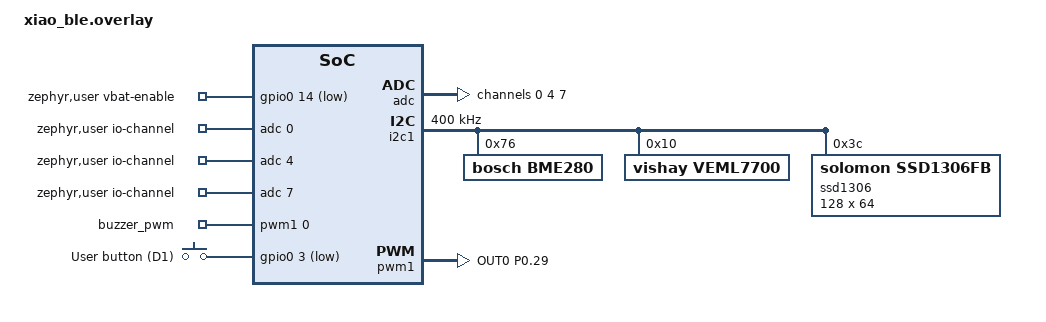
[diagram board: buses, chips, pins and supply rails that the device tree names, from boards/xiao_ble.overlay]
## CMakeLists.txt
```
cmake_minimum_required(VERSION 3.20.0)

find_package(Zephyr REQUIRED HINTS $ENV{ZEPHYR_BASE})

project(carl_node_sensor LANGUAGES C CXX)

target_sources(app PRIVATE
    src/main.cpp
    src/sensors.cpp
    src/thresholds.cpp
    src/calibration.cpp
    src/dev_cal.cpp
    src/keystore.cpp
    src/bthome_emit.cpp
    # Shared library — compiled into the app build (no separate Zephyr module
    # because the file count is tiny).
    ../common/bthome/bthome.cpp
    ../common/bthome/bthome_decode.cpp
    ../common/bthome/aes_ccm.cpp
)

# Display profile pulls in the OLED + button code paths.
target_sources_ifdef(CONFIG_CARL_DISPLAY_PROFILE app PRIVATE
    src/ui/oled.cpp
    src/ui/button.cpp
)

# Local feedback — independent of the display so the screenless budget node
# gets a buzzer + RGB status LED too.
target_sources_ifdef(CONFIG_CARL_HAS_BUZZER app PRIVATE
    src/ui/buzzer.cpp
)
target_sources_ifdef(CONFIG_CARL_HAS_RGB app PRIVATE
    src/ui/rgb.cpp
)

# QR rendering on the OLED — relies on Nayuki's qrcodegen-c vendored at
# firmware/common/qr/. See firmware/common/qr/README.md for the curl
# commands; build-side this is opt-in via CONFIG_CARL_HAS_QR=y.
target_sources_ifdef(CONFIG_CARL_HAS_QR app PRIVATE
    ../common/qr/qrcodegen.c
)

target_include_directories(app PRIVATE
    src
    ../common
    ../common/bthome
    ../common/qr
)
```

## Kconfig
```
source "Kconfig.zephyr"

menu "Project-Carl sensor node"

choice CARL_PROFILE
    prompt "Sensor node product profile"
    default CARL_DISPLAY_PROFILE

config CARL_DISPLAY_PROFILE
    bool "Display profile (XIAO Expansion Board: OLED, button, buzzer)"
    help
        Builds the premium variant with local UI. Standalone-usable when no
        hub is reachable.

config CARL_CHEAP_PROFILE
    bool "Cheap profile (bare board / future PCB)"
    help
        Mass-production target. Drops local UI; calibration via a one-minute
        connectable BLE window on first boot.

endchoice

config CARL_HAS_BUZZER
    bool "Piezo buzzer for local alerts (PWM on A3)"
    default y
    help
        Compile the buzzer path. Independent of the display profile so the
        budget/cheap node (no screen) can still beep on critically dry soil.
        Drives the carl-buzzer PWM alias (A3 / P0.29 in the board overlay) —
        the XIAO Expansion Board buzzer, or an external piezo on the bare
        board. Set n if no buzzer is wired.

config CARL_HAS_RGB
    bool "RGB status LED (XIAO onboard, GPIO)"
    default y
    help
        Compile the RGB status path. Uses the XIAO nRF52840's onboard RGB LED
        (led0/led1/led2 = red/green/blue, active-low GPIO). Shows severity at
        a glance — green OK, amber warning, red critical — so the screenless
        budget node still gives local feedback. Always present on the bare
        board, so default y.

config CARL_SAMPLE_INTERVAL_NORMAL_SEC
    int "Sample interval — normal (Severity::Ok) conditions (s)"
    default 1800
    range 30 7200
    help
        How often to sample + broadcast when soil is healthy / no alerts.
        Default: 30 minutes — favours battery life. Plant data changes on
        minute-to-hour timescales so this is plenty fresh.

config CARL_SAMPLE_INTERVAL_WARNING_SEC
    int "Sample interval — warning conditions (s)"
    default 300
    range 30 1800
    help
        How often to sample when soil is approaching dry (Severity::Warning).
        Default: 5 minutes — catches the transition to critical sooner so
        the alert fires promptly.

config CARL_SAMPLE_INTERVAL_CRITICAL_SEC
    int "Sample interval — critical conditions (s)"
    default 60
    range 30 600
    help
        How often to sample when soil is critically dry. Default: 1 minute —
        keeps the dashboard / app responsive while the user reacts. Power
        cost is small because critical conditions don't last long (user
        waters the plant and severity drops back to Warning then OK).

config CARL_SOIL_FACTORY_CAL
    bool "Apply a built-in factory soil calibration when none is stored"
    default y
    help
        The button-driven dry/wet calibration (display profile) can't run on
        the buttonless cheap/budget node. With this on, sensors::init() seeds
        the dry/wet endpoints from CARL_SOIL_FACTORY_DRY_ADC / _WET_ADC when
        NVS has no stored calibration, so every node reports a usable soil %
        out of the box and can drive its buzzer / RGB LED. A stored user/dev
        calibration loads first and always overrides these factory values.

config CARL_SOIL_FACTORY_DRY_ADC
    int "Factory dry soil ADC count (probe in air)"
    default 2600
    range 1 4095
    depends on CARL_SOIL_FACTORY_CAL
    help
        Raw 12-bit ADC count for a dry (in-air) capacitive probe. Placeholder
        default — bench-measure one probe via the dev-cal CAL SHOW command and
        set the batch's real value here. Higher count = drier.

config CARL_SOIL_FACTORY_WET_ADC
    int "Factory wet soil ADC count (probe submerged)"
    default 1300
    range 1 4095
    depends on CARL_SOIL_FACTORY_CAL
    help
        Raw 12-bit ADC count for a fully wet (submerged) capacitive probe.
        Placeholder default — measure and set the real value. Must differ
        from the dry value.

config CARL_DEEP_SLEEP
    bool "Deep-sleep power path (tear down BLE between samples)"
    default n
    help
        System ON idle deep sleep for long battery life. Between samples the
        BLE controller is disabled (bt_disable) so the radio draws nothing,
        and the RTC-driven tickless idle wakes the core at the next sample.
        This is the CORRECT periodic-wake mechanism for the nRF52840 — System
        OFF (sys_poweroff) cannot wake on a timer, only on GPIO/reset, so it is
        NOT used here. Device PM (CONFIG_PM_DEVICE, already enabled) suspends
        the sensors between reads. Intended for the cheap profile; validate the
        average current with a Power Profiler before trusting the battery
        estimate. Adds ~100 ms of active time per sample for bt_enable().

config CARL_DEV_CAL
    bool "Dev-mode soil recalibration over the serial console"
    default n
    help
        Starts a console listener that accepts CAL DRY / CAL WET / CAL SAVE /
        CAL SHOW commands to recalibrate the soil probe without the button or
        OLED. Intended for bench use and for deriving the factory ADC values
        above. Requires CONFIG_CONSOLE_GETCHAR=y (added in prj_cheap.conf).

config CARL_HAS_GROVE_TEMP
    bool "Grove Temperature Sensor v1.2 wired to D2 (AIN4)"
    default n
    help
        Enable reading a Grove Temperature Sensor v1.2 (analog NTC
        thermistor module) on AIN4 (D2 / P0.28), wired with jumper
        wires to the XIAO header on the expansion board. Off by
        default — when off, AIN4 is left floating and no fallback
        temperature reading is taken (so the OLED won't show a
        garbage temperature when nothing is connected).

config CARL_HAS_QR
    bool "Render provisioning QR code on OLED (display profile)"
    default n
    depends on CARL_DISPLAY_PROFILE
    help
        When set, the display-profile node renders the carl://node?mac=&key=…
        provisioning URL as a QR code on the OLED at first boot, and on
        long-press during normal ops. Requires Nayuki's qrcodegen-c sources
        to be vendored at firmware/common/qr/ — see firmware/common/qr/README.md
        for the one-line curl commands. Off by default so the build doesn't
        fail when those files aren't present yet.

config CARL_OLED_REFRESH_SEC
    int "OLED refresh interval while awake (s)"
    default 5
    range 1 60
    depends on CARL_DISPLAY_PROFILE
    help
        When the display is awake, how often it redraws. Display is asleep
        most of the time (see below) so this only matters during boot
        grace, button-wake, and critical-alert windows.

config CARL_DISPLAY_BOOT_GRACE_SEC
    int "Display on time after boot (s)"
    default 120
    range 0 600
    depends on CARL_DISPLAY_PROFILE
    help
        Display stays awake for this long after boot so the user can read
        the welcome screen, AES key, and provisioning QR. After the grace
        period, display sleeps to save battery. Set to 0 to disable
        (display sleeps immediately after the welcome sequence completes).

config CARL_DISPLAY_WAKE_SEC
    int "Display on time after button press (s)"
    default 30
    range 5 300
    depends on CARL_DISPLAY_PROFILE
    help
        Short-press the user button to wake the display for this many
        seconds. Useful for spot-checking readings without unplugging or
        opening the hub dashboard.

config CARL_DEBUG_MODE
    bool "Debug mode (fast sampling, raw values, display always on)"
    default n
    help
        Build the firmware for development / bench debugging instead of
        production / customer use. Overrides the adaptive sample cadence
        with a fixed 1 Hz, keeps the OLED awake permanently, swaps the
        readings page for a raw-values debug view (ADC counts, dry/wet
        calibration, severity, sample number), and silences the buzzer
        so it doesn't beep continuously while you iterate.

        Off (default) for production builds shipping to family/friends —
        gives the long battery life and quiet behaviour the customer
        path is designed for. Flip this on (-DCONFIG_CARL_DEBUG_MODE=y)
        when actively iterating on hardware so you can watch values
        change in real time.

config CARL_DEBUG_SAMPLE_INTERVAL_SEC
    int "Sample interval in debug mode (s)"
    default 1
    range 1 60
    depends on CARL_DEBUG_MODE

endmenu
```

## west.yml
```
manifest:
  self:
    path: firmware/node-sensor
  remotes:
    - name: nrf
      url-base: https://github.com/nrfconnect
  projects:
    - name: sdk-nrf
      remote: nrf
      path: nrf
      revision: v2.6.1
      import:
        path-prefix: external
      clone-depth: 1
```

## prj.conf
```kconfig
# Common config for both display and cheap profiles.
# Profile-specific overrides live in prj_display.conf / prj_cheap.conf.

# --- Bluetooth (peripheral, broadcast) ---
CONFIG_BT=y
CONFIG_BT_PERIPHERAL=y
CONFIG_BT_BROADCASTER=y
CONFIG_BT_DEVICE_NAME="carl-node"
CONFIG_BT_DEVICE_NAME_DYNAMIC=y

# --- Sensors ---
CONFIG_I2C=y
CONFIG_ADC=y
CONFIG_SENSOR=y
CONFIG_BME280=y
CONFIG_VEML7700=y

# --- Local feedback (both profiles) ---
# GPIO drives the onboard RGB status LED; PWM drives the piezo buzzer. Both
# default-on (CARL_HAS_RGB / CARL_HAS_BUZZER) so the screenless budget node
# has local status + alerts. The display profile also redeclares these.
CONFIG_GPIO=y
CONFIG_PWM=y

# --- Power management ---
CONFIG_PM=y
CONFIG_PM_DEVICE=y
CONFIG_POWEROFF=y

# --- Persistence (calibration, AES key, counter, thresholds) ---
CONFIG_NVS=y
CONFIG_FLASH=y
CONFIG_FLASH_PAGE_LAYOUT=y
CONFIG_FLASH_MAP=y
CONFIG_SETTINGS=y
CONFIG_SETTINGS_NVS=y

# --- RNG for AES key generation on first boot ---
CONFIG_ENTROPY_GENERATOR=y

# --- mbedtls (legacy API; AES-CCM used by firmware/common/bthome/aes_ccm.cpp) ---
CONFIG_MBEDTLS=y
CONFIG_MBEDTLS_BUILTIN=y
CONFIG_MBEDTLS_ENABLE_HEAP=y
CONFIG_MBEDTLS_HEAP_SIZE=4096
CONFIG_MBEDTLS_CIPHER_AES_ENABLED=y
CONFIG_MBEDTLS_CIPHER_CCM_ENABLED=y

# --- C++17 for shared firmware/common headers + the application code ---
CONFIG_CPP=y
CONFIG_STD_CPP17=y
CONFIG_CPP_MAIN=y
# Pull in the full GNU libstdc++ so <cstring>, <atomic>, <cstdint>, etc. are
# available. Without this, only the minimal libcpp ships and headers like
# <cstring> are missing.
CONFIG_LIB_CPLUSPLUS=y
CONFIG_GLIBCXX_LIBCPP=y
CONFIG_NEWLIB_LIBC=y
# Enable %f / %g support in newlib's printf family — required so snprintf
# actually renders floats. Without this the OLED shows "Soil % OK" instead
# of "Soil 45% OK" because the %f specifier silently produces nothing.
CONFIG_NEWLIB_LIBC_FLOAT_PRINTF=y

# --- Logging (off by default to save power; flip to y temporarily with
# CONFIG_BT_LOG_LEVEL_DBG=y to diagnose BT host issues during bring-up.)
CONFIG_LOG=n
CONFIG_PRINTK=y
```

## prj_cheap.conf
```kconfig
# Cheap profile overlay — bare XIAO nRF52840 / future custom PCB.
# Build with: west build -b xiao_ble -- -DEXTRA_CONF_FILE=prj_cheap.conf

CONFIG_CARL_CHEAP_PROFILE=y

# Tighter stacks; no display / UI tasks.
CONFIG_MAIN_STACK_SIZE=1536

# Dev-mode soil recalibration over the serial console (opt-in, default off in
# Kconfig). Flip CONFIG_CARL_DEV_CAL=y on the build line to enable the CAL
# DRY/WET/SAVE/SHOW commands; the console subsystem below backs console_getline().
CONFIG_CONSOLE_SUBSYS=y
CONFIG_CONSOLE_GETLINE=y
```

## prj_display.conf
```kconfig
# Display profile overlay — XIAO nRF52840 + XIAO Expansion Board.
# Build with: west build -b xiao_ble -- -DEXTRA_CONF_FILE=prj_display.conf

CONFIG_CARL_DISPLAY_PROFILE=y

# OLED on the expansion board (SSD1306, I2C).
CONFIG_DISPLAY=y
CONFIG_SSD1306=y

# Character framebuffer for simple text-only OLED rendering — no LVGL needed.
CONFIG_CHARACTER_FRAMEBUFFER=y

# GPIO for the user button + PWM for the buzzer.
CONFIG_GPIO=y
CONFIG_PWM=y

# Slightly more headroom for the UI rendering paths.
CONFIG_MAIN_STACK_SIZE=2048
CONFIG_HEAP_MEM_POOL_SIZE=4096
```

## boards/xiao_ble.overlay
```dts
/* Devicetree overlay for the XIAO nRF52840 sensor node.
 *
 * Wires the soil-moisture probe (ADC), the Grove I2C bus (BME280, VEML7700,
 * and on the display profile the SSD1306 OLED), the buzzer (PWM), and the
 * user button. The display profile pulls in the OLED + buzzer + button
 * paths in firmware (guarded by CONFIG_CARL_DISPLAY_PROFILE); the cheap
 * profile leaves those device nodes present but unused.
 *
 * Notes on choices:
 *   - The Grove I2C bus on D4/D5 is `i2c1` in the upstream board (see
 *     boards/arm/xiao_ble/xiao_ble_common.dtsi). `i2c0` exists but isn't
 *     enabled — using i2c1 means we don't have to redefine pinctrl.
 *   - `pwm0` is already consumed by the onboard red-LED PWM. We use `pwm1`
 *     for the buzzer with its own pinctrl block (channel 0 → A3 / P0.29).
 *   - `&adc` is enabled by the board; we just add a channel for the soil
 *     probe and expose it via the standard `zephyr,user` node.
 */

#include <zephyr/dt-bindings/pinctrl/nrf-pinctrl.h>

/ {
    aliases {
        carl-buzzer = &buzzer_pwm;
        carl-button = &user_button;
        carl-oled   = &ssd1306;
    };

    /* Three analog channels:
     *   index 0 — soil moisture probe on AIN0 (P0.02 / Grove A0 port).
     *   index 1 — Grove Temperature Sensor v1.2 thermistor on AIN4 (P0.28 / D2).
     *   index 2 — XIAO BLE on-board battery monitor on AIN7 (P0.31). The
     *             board has a 1 MΩ / 510 kΩ divider from VBAT into AIN7,
     *             gated by a P-channel FET driven from P0.14 (BAT_READ_EN,
     *             active-low). Pulling P0.14 LOW enables the divider so
     *             AIN7 reads VBAT × 0.3377; HIGH disconnects it to save
     *             ~2 µA continuous leakage. Crucial now that we're running
     *             on a real LiPo (EEMB LP603759, 1300 mAh).
     */
    zephyr,user {
        io-channels       = <&adc 0>, <&adc 4>, <&adc 7>;
        vbat-enable-gpios = <&gpio0 14 GPIO_ACTIVE_LOW>;
    };

    pwmleds {
        compatible = "pwm-leds";
        buzzer_pwm: buzzer_pwm {
            pwms = <&pwm1 0 PWM_HZ(2000) PWM_POLARITY_NORMAL>;
        };
    };

    buttons {
        compatible = "gpio-keys";
        /* User button on the XIAO Expansion Board — wired to D1 (P0.03),
         * pulled up externally on the board, active-low when pressed. */
        user_button: user_button {
            gpios = <&gpio0 3 (GPIO_PULL_UP | GPIO_ACTIVE_LOW)>;
            label = "User button (D1)";
        };
    };
};

&pinctrl {
    /* Buzzer on A3 (D3 = P0.29). Distinct from pwm0_default to avoid
     * conflicting with the onboard red-LED PWM. */
    pwm1_default: pwm1_default {
        group1 {
            psels = <NRF_PSEL(PWM_OUT0, 0, 29)>;
        };
    };
    pwm1_sleep: pwm1_sleep {
        group1 {
            psels = <NRF_PSEL(PWM_OUT0, 0, 29)>;
            low-power-enable;
        };
    };
};

&adc {
    #address-cells = <1>;
    #size-cells = <0>;

    channel@0 {
        reg = <0>;
        zephyr,gain = "ADC_GAIN_1_6";
        zephyr,reference = "ADC_REF_INTERNAL";
        zephyr,acquisition-time = <ADC_ACQ_TIME(ADC_ACQ_TIME_MICROSECONDS, 10)>;
        zephyr,input-positive = <NRF_SAADC_AIN0>;
        zephyr,resolution = <12>;
    };

    /* Grove Temperature Sensor v1.2 thermistor — AIN4 (D2 / P0.28). */
    channel@4 {
        reg = <4>;
        zephyr,gain = "ADC_GAIN_1_6";
        zephyr,reference = "ADC_REF_INTERNAL";
        zephyr,acquisition-time = <ADC_ACQ_TIME(ADC_ACQ_TIME_MICROSECONDS, 10)>;
        zephyr,input-positive = <NRF_SAADC_AIN4>;
        zephyr,resolution = <12>;
    };

    /* XIAO BLE on-board battery monitor — AIN7 (P0.31). 40 µs acquisition
     * because the 510 kΩ source impedance from the VBAT divider needs longer
     * to charge the SAADC sample-and-hold cap; 10 µs is too short for high-Z
     * sources and produces low-by-a-few-percent readings. */
    channel@7 {
        reg = <7>;
        zephyr,gain = "ADC_GAIN_1_6";
        zephyr,reference = "ADC_REF_INTERNAL";
        zephyr,acquisition-time = <ADC_ACQ_TIME(ADC_ACQ_TIME_MICROSECONDS, 40)>;
        zephyr,input-positive = <NRF_SAADC_AIN7>;
        zephyr,resolution = <12>;
    };
};

&i2c1 {
    clock-frequency = <I2C_BITRATE_FAST>;

    bme280: bme280@76 {
        compatible = "bosch,bme280";
        reg = <0x76>;
    };

    veml7700: veml7700@10 {
        compatible = "vishay,veml7700";
        reg = <0x10>;
    };

    /* SSD1306 OLED on the XIAO Expansion Board. The driver init is gated
     * behind CONFIG_CARL_DISPLAY_PROFILE in firmware. `inversion-on`
     * flips the panel so background pixels stay unlit (lower current
     * draw on an OLED — only character pixels light up). */
    ssd1306: ssd1306@3c {
        compatible = "solomon,ssd1306fb";
        reg = <0x3c>;
        width  = <128>;
        height = <64>;
        segment-offset = <0>;
        page-offset    = <0>;
        display-offset = <0>;
        multiplex-ratio = <63>;
        prechargep      = <0x22>;
        segment-remap;
        com-invdir;
        inversion-on;
    };
};

&pwm1 {
    status = "okay";
    pinctrl-0 = <&pwm1_default>;
    pinctrl-1 = <&pwm1_sleep>;
    pinctrl-names = "default", "sleep";
};
```

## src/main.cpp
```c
// Project-Carl — XIAO nRF52840 sensor node entry point.
//
// One firmware, two profiles. The display profile pulls in the OLED + button
// + buzzer + calibration paths; the cheap profile leaves them as no-ops via
// CONFIG_CARL_DISPLAY_PROFILE.

#include <zephyr/bluetooth/bluetooth.h>
#include <zephyr/kernel.h>
#include <zephyr/settings/settings.h>
#include <zephyr/sys/printk.h>

#include "bthome_emit.h"
#include "dev_cal.h"
#include "keystore.h"
#include "sensors.h"
#include "thresholds.h"

#ifdef CONFIG_CARL_DISPLAY_PROFILE
#include "calibration.h"
#include "ui/button.h"
#include "ui/oled.h"
#endif
#ifdef CONFIG_CARL_HAS_BUZZER
#include "ui/buzzer.h"
#endif
#ifdef CONFIG_CARL_HAS_RGB
#include "ui/rgb.h"
#endif

namespace {

void boot() {
    settings_subsys_init();
    settings_load();

    if (!carl::sensors::init())   printk("sensors_init failed\n");
    if (!carl::thresholds::init()) printk("thresholds_init failed\n");
    if (!carl::keystore::init())   printk("keystore_init failed\n");

    if (bt_enable(nullptr) != 0) printk("bt_enable failed\n");
    carl::bthome_emit::init();

    // Surface the provisioning credentials on the serial console as a single
    // machine-parseable line so tools/provision.py can capture them and print
    // a stick-on QR label. The budget/cheap node has no screen, so this (or
    // the printed label) is how its key reaches the hub. On the display
    // profile we only emit it on first boot (the OLED QR is the primary
    // path); the cheap profile has no other surface, so emit every boot —
    // harmless in the field where no serial console is attached.
    {
        bt_addr_le_t addr{};
        size_t addr_count = 1;
        bt_id_get(&addr, &addr_count);
#ifdef CONFIG_CARL_DISPLAY_PROFILE
        const bool emit_prov = carl::keystore::isFreshKey();
#else
        const bool emit_prov = true;
#endif
        if (addr_count == 1 && emit_prov) {
            char hex[33];
            carl::keystore::keyHex(hex);
            const uint8_t *m = addr.a.val;
            printk("CARL-PROV mac=%02X:%02X:%02X:%02X:%02X:%02X key=%s\n",
                   m[5], m[4], m[3], m[2], m[1], m[0], hex);
        }
    }

    // Dev-mode serial calibration listener. No-op unless CONFIG_CARL_DEV_CAL —
    // gives the buttonless node a CAL DRY/WET/SAVE/SHOW path over the console.
    carl::dev_cal::start();

    // Local feedback (RGB + buzzer) — both profiles. This is the screenless
    // budget node's only status surface, so it lives outside the display
    // block. The display profile plays its welcome chime during the splash
    // sequence below, so we only chime here on the cheap profile.
#ifdef CONFIG_CARL_HAS_RGB
    carl::ui::rgb::init();
    carl::ui::rgb::bootFlash();
#endif
#ifdef CONFIG_CARL_HAS_BUZZER
    carl::ui::buzzer::init();
#ifndef CONFIG_CARL_DISPLAY_PROFILE
    carl::ui::buzzer::welcomeChime();
#endif
#endif

#ifdef CONFIG_CARL_DISPLAY_PROFILE
    carl::ui::oled::init();
    carl::ui::button::init();

    // Welcome sequence — paced so the user actually has time to see it:
    //   1. Leaf splash with brand text shown immediately.
    //   2. Nokia tune (~3 s) plays while the splash stays on screen.
    //   3. Splash continues for a beat after the tune so the screen
    //      doesn't whip away the moment the music ends.
    //   4. On first boot only, switch to the key transcription screen
    //      and hold it long enough to read / photograph (5 s).
    carl::ui::oled::showLeafSplash();
#ifdef CONFIG_CARL_HAS_BUZZER
    carl::ui::buzzer::welcomeChime();
#endif
    k_sleep(K_MSEC(800));

    char hex[33];
    carl::keystore::keyHex(hex);
    carl::ui::oled::showWelcome(carl::keystore::isFreshKey() ? hex : nullptr);
    if (carl::keystore::isFreshKey()) {
        printk("AES key (transcribe to hub): %s\n", hex);
        k_sleep(K_SECONDS(5));   // give the user time to capture the key

        // Then show the same key as a scannable QR for the iOS app's
        // Add-Plant flow. Held for 15 s so the user has plenty of time
        // to point a phone at the OLED.
        bt_addr_le_t addr{};
        size_t addr_count = 1;
        bt_id_get(&addr, &addr_count);
        if (addr_count == 1) {
            carl::ui::oled::showProvisioningQR(addr.a.val, carl::keystore::key());
            k_sleep(K_SECONDS(15));
        }
    } else {
        k_sleep(K_SECONDS(2));   // shorter hold on subsequent boots
    }

    // Boot-time button hold → calibration flow.
    if (carl::ui::button::isHeldNow()) {
        k_msleep(500);  // confirm hold
        if (carl::ui::button::isHeldNow()) {
            carl::calibration::runDisplayFlow();
        }
    }

    if (!carl::sensors::hasSoilCalibration()) {
        carl::ui::oled::showCalibrationStep("No cal", "Hold btn at boot");
        k_sleep(K_SECONDS(2));
    }

    // Discard any latched short-press from boot-time button hold so we don't
    // immediately enter live mode on the first loop iteration.
    (void)carl::ui::button::consumeShortPress();
#endif
}

}  // namespace

namespace {

#ifdef CONFIG_CARL_DEEP_SLEEP
// Deep-sleep power path: keep the BLE controller off between samples so the
// radio draws nothing while the RTC-driven idle waits for the next sample.
// boot() leaves BT enabled for the first cycle; we tear it down after the
// first broadcast and re-enable just around each subsequent one.
bool g_bt_on = true;

void btEnsureOn() {
    if (!g_bt_on && bt_enable(nullptr) == 0) g_bt_on = true;
}
void btPowerDown() {
    if (g_bt_on) {
        (void)bt_le_adv_stop();   // belt-and-braces; broadcastOnce already stops
        (void)bt_disable();
        g_bt_on = false;
    }
}
#endif

// Pick the next sample interval. In debug mode this is a fixed fast cadence
// (CARL_DEBUG_SAMPLE_INTERVAL_SEC, default 1 s). In customer mode it's
// adaptive — critical → fast, healthy → slow — to maximise battery life.
int sampleIntervalSecForSeverity(carl::thresholds::Severity sev) {
#ifdef CONFIG_CARL_DEBUG_MODE
    (void)sev;
    return CONFIG_CARL_DEBUG_SAMPLE_INTERVAL_SEC;
#else
    switch (sev) {
        case carl::thresholds::Severity::kCritical:
            return CONFIG_CARL_SAMPLE_INTERVAL_CRITICAL_SEC;
        case carl::thresholds::Severity::kWarning:
            return CONFIG_CARL_SAMPLE_INTERVAL_WARNING_SEC;
        case carl::thresholds::Severity::kOk:
        default:
            return CONFIG_CARL_SAMPLE_INTERVAL_NORMAL_SEC;
    }
#endif
}

}  // namespace

int main(void) {
    boot();

    // Adaptive cadence + power-aware display:
    //   - Sample interval depends on the last severity (1 min critical →
    //     5 min warning → 30 min normal). Healthy plants barely wake the MCU.
    //   - OLED is asleep most of the time. It's only awake during:
    //       a) the boot grace window (so the user reads the welcome + key + QR)
    //       b) for CARL_DISPLAY_WAKE_SEC after a short button press
    //       c) for as long as severity is critical, plus 30 s after it clears
    //   - Buzzer fires once per critical sample (rate-limited by sample interval).

    // last_sample_ms used to be INT64_MIN as a "force first sample" sentinel,
    // but `(now - INT64_MIN)` is signed-overflow UB and on this target it
    // landed negative, so sample_due stayed false until a button press
    // short-circuited the OR. That left the welcome splash on screen and
    // the radio silent until the user poked USR — exactly the symptom we
    // hit. Use an explicit first-shot flag instead; safe for any interval.
    int64_t last_sample_ms       = 0;
    bool    force_first_sample   = true;
    int64_t display_wake_until   = 0;
    auto    prev_severity        = carl::thresholds::Severity::kOk;
    bool    display_is_on        = true;   // boot leaves display on
    uint32_t sample_no           = 0;       // rolling counter for debug view

#ifdef CONFIG_CARL_DISPLAY_PROFILE
#ifdef CONFIG_CARL_DEBUG_MODE
    // Debug mode pins the display awake forever. Customer mode gives a
    // grace window then sleeps it.
    display_wake_until = INT64_MAX;
#else
    display_wake_until = k_uptime_get()
                         + CONFIG_CARL_DISPLAY_BOOT_GRACE_SEC * 1000;
#endif
#endif

    while (true) {
#ifdef CONFIG_CARL_DISPLAY_PROFILE
        // Long press: re-show the provisioning QR for 30 s. Display wakes
        // for the duration regardless of timer state.
        if (carl::ui::button::consumeLongPress()) {
            bt_addr_le_t addr{};
            size_t addr_count = 1;
            bt_id_get(&addr, &addr_count);
            if (addr_count == 1) {
                if (!display_is_on) { carl::ui::oled::wake(); display_is_on = true; }
                carl::ui::oled::showProvisioningQR(addr.a.val,
                                                   carl::keystore::key());
                k_sleep(K_SECONDS(30));
                display_wake_until = k_uptime_get()
                                     + CONFIG_CARL_DISPLAY_WAKE_SEC * 1000;
            }
        }

        // Short press: wake the display + force an immediate sample so the
        // user sees fresh data instead of whatever was rendered last.
        const bool short_pressed = carl::ui::button::consumeShortPress();
        if (short_pressed) {
            display_wake_until = k_uptime_get()
                                 + CONFIG_CARL_DISPLAY_WAKE_SEC * 1000;
            force_first_sample = true;   // re-use the first-sample path
        }
#else
        const bool short_pressed = false;
#endif

        const int interval_sec = sampleIntervalSecForSeverity(prev_severity);
        const int64_t now = k_uptime_get();
        const bool sample_due =
            force_first_sample
            || (now - last_sample_ms) >= interval_sec * 1000
            || short_pressed;

        if (sample_due) {
            carl::sensors::Sample s{};
            carl::sensors::sample(&s);

            // Until the soil probe is calibrated, treat severity as OK so
            // an uncalibrated floating ADC reading doesn't pin everything
            // to critical and burn battery on a 1-min cadence.
            const bool soil_actionable =
                s.soil_ok && carl::sensors::hasSoilCalibration();
            const auto severity = soil_actionable
                ? carl::thresholds::evaluate(s.soil_pct)
                : carl::thresholds::Severity::kOk;

#ifdef CONFIG_CARL_DISPLAY_PROFILE
            using Sev = carl::thresholds::Severity;
#ifndef CONFIG_CARL_DEBUG_MODE
            // Customer mode: critical wakes (or keeps awake) the display.
            // As soon as it clears, leave the display on for one wake
            // window so the user sees the recovery, then let it sleep.
            if (severity == Sev::kCritical) {
                display_wake_until = INT64_MAX;
            } else if (prev_severity == Sev::kCritical && severity != Sev::kCritical) {
                display_wake_until = now + CONFIG_CARL_DISPLAY_WAKE_SEC * 1000;
            }
#endif

            const bool should_show = now < display_wake_until;
            if (should_show && !display_is_on) {
                carl::ui::oled::wake();
                display_is_on = true;
            }
            if (display_is_on) {
#ifdef CONFIG_CARL_DEBUG_MODE
                carl::ui::oled::showDebugReadings(s, severity, sample_no);
#else
                carl::ui::oled::showReadings(s, severity, /*live=*/false);
#endif
            }

#endif

            // Local feedback on both profiles: a brief RGB blink conveys
            // severity then the LED goes dark (never solid-on — protects the
            // battery, same power-aware idea as the OLED). The buzzer beeps on
            // critical (rate-limited by the 1-min critical cadence — one beep
            // per minute, not per loop). Debug mode keeps the buzzer silent so
            // it doesn't beep continuously while iterating.
#ifdef CONFIG_CARL_HAS_RGB
            carl::ui::rgb::blinkSeverity(severity);
#endif
#if defined(CONFIG_CARL_HAS_BUZZER) && !defined(CONFIG_CARL_DEBUG_MODE)
            if (severity == carl::thresholds::Severity::kCritical) {
                carl::ui::buzzer::alert(severity);
            }
#endif

#ifdef CONFIG_CARL_DEEP_SLEEP
            btEnsureOn();
#endif
            carl::bthome_emit::broadcastOnce(s, severity);
#ifdef CONFIG_CARL_DEEP_SLEEP
            btPowerDown();   // radio off until the next sample
#endif

            last_sample_ms     = now;
            prev_severity      = severity;
            force_first_sample = false;
            ++sample_no;
        }

#if defined(CONFIG_CARL_DISPLAY_PROFILE) && !defined(CONFIG_CARL_DEBUG_MODE)
        // If the wake window has elapsed and we're not in a critical state,
        // put the display to sleep to drop current draw by ~10 mA. Debug
        // mode keeps the panel awake forever so this branch is compiled out.
        if (display_is_on
            && k_uptime_get() >= display_wake_until
            && prev_severity != carl::thresholds::Severity::kCritical) {
            carl::ui::oled::sleep();
            display_is_on = false;
        }
#endif

        // Sleep until the next event: either the next sample, or — if the
        // display is awake — the next OLED refresh, whichever is sooner.
        const int64_t now2 = k_uptime_get();
        int64_t until_next_sample_ms =
            last_sample_ms + interval_sec * 1000 - now2;
        if (until_next_sample_ms < 100) until_next_sample_ms = 100;
        int64_t sleep_ms = until_next_sample_ms;
#ifdef CONFIG_CARL_DISPLAY_PROFILE
        if (display_is_on) {
            const int64_t refresh_ms = CONFIG_CARL_OLED_REFRESH_SEC * 1000;
            if (refresh_ms < sleep_ms) sleep_ms = refresh_ms;
            // Also wake by the moment the display window expires, so we can
            // blank the panel promptly instead of waiting a full sample
            // interval before transitioning state.
            if (display_wake_until != INT64_MAX) {
                const int64_t until_off = display_wake_until - now2;
                if (until_off > 0 && until_off < sleep_ms) sleep_ms = until_off;
            }
        }
#endif
#ifdef CONFIG_CARL_DISPLAY_PROFILE
        // Wait for either the timeout OR a button press, whichever comes
        // first. Plain k_sleep() couldn't be interrupted by the GPIO ISR,
        // so a press during a 30-min idle (customer-mode normal cadence)
        // sat unread until the next scheduled sample woke the loop.
        carl::ui::button::waitForAnyEvent(static_cast<int>(sleep_ms));
#else
        k_sleep(K_MSEC(sleep_ms));
#endif
    }
    return 0;
}
```

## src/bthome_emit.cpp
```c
#include "bthome_emit.h"

#include <cstring>

#include <zephyr/bluetooth/addr.h>
#include <zephyr/bluetooth/bluetooth.h>
#include <zephyr/kernel.h>
#include <zephyr/sys/printk.h>

#include "bthome.h"
#include "keystore.h"

namespace carl::bthome_emit {

namespace {

uint8_t g_mac_le[6] = {0};

// How long to broadcast each cycle. Long enough that the hub's passive scan
// (typical 100 ms window every 1 s) catches the advertisement at least once.
constexpr int kBroadcastMs = 200;

void readMacLe() {
    bt_addr_le_t addr{};
    size_t count = 1;
    bt_id_get(&addr, &count);
    if (count == 1) std::memcpy(g_mac_le, addr.a.val, 6);
}

}  // namespace

bool init() {
    // bt_enable() is called from main; we can read identity here.
    readMacLe();
    return true;
}

bool broadcastOnce(const carl::sensors::Sample& s,
                   carl::thresholds::Severity severity) {
    static uint8_t cycle = 0;
    cycle ^= 1;

    carl::bthome::Builder b;
    b.addPacketId(static_cast<uint8_t>(carl::keystore::nextCounter() & 0xFF));
    b.addBattery(s.battery_pct);

    if (cycle == 0) {
        if (s.temp_ok)     b.addTemperature(s.temperature_c);
        if (s.humidity_ok) b.addHumidity(s.humidity_pct);
        if (s.pressure_ok) b.addPressure(s.pressure_hpa);
    } else {
        if (s.soil_ok)  b.addMoisture(s.soil_pct);
        if (s.veml_ok)  b.addIlluminance(s.illuminance_lux);
    }

    if (!b.ok()) return false;
    (void)severity;  // Carried in a future Carl-namespace extension; for now
                     // the hub derives it from the moisture %.

    uint8_t svc[carl::bthome::kMaxPlaintext + 11];
    size_t  svc_len = 0;
    if (!b.buildEncrypted(svc, sizeof(svc), &svc_len,
                          carl::keystore::key(), g_mac_le,
                          carl::keystore::nextCounter())) {
        return false;
    }

    // Just the BTHome service-data AD struct. We previously also included a
    // BT_DATA_FLAGS field, but NCS's legacy-adv path rejected the resulting
    // pair with -EINVAL — and BTHome scanners (the hub here, plus reference
    // emitters like esphome / bthome-rs) only key off the service-data UUID
    // 0xFCD2, so flags are dead weight.
    const struct bt_data ad[] = {
        BT_DATA(BT_DATA_SVC_DATA16, svc, svc_len),
    };

    // BT_LE_ADV_NCONN is a C99 compound-literal macro that won't compile in
    // C++ ("taking address of temporary array"), so we build the param
    // explicitly with BT_LE_ADV_PARAM_INIT.
    //
    // BT_LE_ADV_OPT_USE_IDENTITY is required because we don't enable
    // CONFIG_BT_PRIVACY: without it Zephyr tries to advertise with a
    // Resolvable Private Address it can't generate and bt_le_adv_start
    // returns -EINVAL (-22) on every call. Using the device's static
    // random identity address is also what we want — it stays stable
    // across reboots so the hub's MAC↔key map keeps working.
    struct bt_le_adv_param param = BT_LE_ADV_PARAM_INIT(
        BT_LE_ADV_OPT_USE_IDENTITY,
        BT_GAP_ADV_FAST_INT_MIN_2,
        BT_GAP_ADV_FAST_INT_MAX_2,
        /*peer=*/nullptr);
    int rc = bt_le_adv_start(&param, ad, ARRAY_SIZE(ad), nullptr, 0);
    if (rc != 0) {
        printk("bt_le_adv_start failed: %d\n", rc);
        return false;
    }
    k_msleep(kBroadcastMs);
    bt_le_adv_stop();
    return true;
}

}  // namespace carl::bthome_emit
```

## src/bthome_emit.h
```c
// Build + transmit one BTHome v2 advertisement per cycle.
//
// Legacy BLE non-connectable advertising can fit ~15 bytes of plaintext after
// the 11-byte BTHome overhead. To stay within budget while still reporting
// every channel, we alternate **packets** across two cycles:
//
//   even cycle: packet_id, battery, temp, humidity, pressure   (12 bytes pt)
//   odd cycle:  packet_id, battery, moisture, illuminance      (10 bytes pt)
//
// Both fit comfortably; the hub aggregates them by source MAC. Plant-monitor
// readings change on minute timescales so the alternation is invisible to the
// user.

#pragma once

#include "sensors.h"
#include "thresholds.h"

namespace carl::bthome_emit {

bool init();

// Encode the next advertisement and broadcast it for ~200 ms (one full
// scanning cycle on the hub side). Returns true on success.
bool broadcastOnce(const carl::sensors::Sample& s,
                   carl::thresholds::Severity severity);

}  // namespace carl::bthome_emit
```

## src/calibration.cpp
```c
#include "calibration.h"

#ifdef CONFIG_CARL_DISPLAY_PROFILE

#include <zephyr/kernel.h>
#include <zephyr/sys/printk.h>

#include "sensors.h"
#include "ui/button.h"
#include "ui/oled.h"

namespace carl::calibration {

namespace {

// Wait up to `timeout_ms` for the user to short-press the button.
// Returns true on press, false on timeout.
bool waitForPress(int timeout_ms) {
    const int64_t deadline = k_uptime_get() + timeout_ms;
    while (k_uptime_get() < deadline) {
        if (carl::ui::button::consumeShortPress()) return true;
        k_msleep(20);
    }
    return false;
}

}  // namespace

void runDisplayFlow() {
    carl::ui::oled::showCalibrationStep("DRY soil", "Place probe, press btn");
    if (!waitForPress(60000)) {
        carl::ui::oled::showCalibrationStep("Timeout", "Skipping calibration");
        k_msleep(2000);
        return;
    }
    uint16_t dry = 0;
    if (!carl::sensors::readSoilAveraged(&dry)) {
        carl::ui::oled::showCalibrationStep("Dry FAIL", "ADC error");
        k_msleep(2000);
        return;
    }

    carl::ui::oled::showCalibrationStep("WET soil", "Place probe, press btn");
    if (!waitForPress(60000)) return;
    uint16_t wet = 0;
    if (!carl::sensors::readSoilAveraged(&wet)) return;

    if (dry == wet) {
        carl::ui::oled::showCalibrationStep("Cal FAIL", "dry == wet");
        k_msleep(2000);
        return;
    }
    carl::sensors::setSoilCalibration(dry, wet);
    carl::ui::oled::showCalibrationStep("Saved!", "Resuming");
    k_msleep(1500);
}

}  // namespace carl::calibration

#endif  // CONFIG_CARL_DISPLAY_PROFILE
```

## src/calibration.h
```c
// Soil dry/wet calibration flow, used in two places:
//
//   - Display profile: when the user holds the button at boot, OLED prompts
//     guide them through "place probe in dry soil" → press → "place in wet"
//     → press, then save.
//
//   - Cheap profile: a one-minute connectable window after first boot lets a
//     phone/hub provision dry+wet values over a vendor GATT characteristic.
//     (Stub for now — implementation in Phase 4.)

#pragma once

namespace carl::calibration {

#ifdef CONFIG_CARL_DISPLAY_PROFILE
// Drives the OLED + button calibration flow. Blocks until the user completes
// or the watchdog timeout (60 s) expires.
void runDisplayFlow();
#endif

}  // namespace carl::calibration
```

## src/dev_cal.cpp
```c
#include "dev_cal.h"

#ifdef CONFIG_CARL_DEV_CAL

#include <cstring>

#include <zephyr/console/console.h>
#include <zephyr/kernel.h>
#include <zephyr/sys/printk.h>

#include "sensors.h"

namespace carl::dev_cal {

namespace {

// Pending endpoints captured this session, committed to NVS on CAL SAVE.
uint16_t g_dry = 0;
uint16_t g_wet = 0;

void handle(const char* line) {
    if (std::strcmp(line, "CAL DRY") == 0) {
        uint16_t v = 0;
        if (carl::sensors::readSoilAveraged(&v)) {
            g_dry = v;
            printk("dev-cal: captured dry=%u\n", v);
        } else {
            printk("dev-cal: dry read failed\n");
        }
    } else if (std::strcmp(line, "CAL WET") == 0) {
        uint16_t v = 0;
        if (carl::sensors::readSoilAveraged(&v)) {
            g_wet = v;
            printk("dev-cal: captured wet=%u\n", v);
        } else {
            printk("dev-cal: wet read failed\n");
        }
    } else if (std::strcmp(line, "CAL SAVE") == 0) {
        if (g_dry != 0 && g_wet != 0 && g_dry != g_wet) {
            carl::sensors::setSoilCalibration(g_dry, g_wet);
            printk("dev-cal: saved dry=%u wet=%u\n", g_dry, g_wet);
        } else {
            printk("dev-cal: need CAL DRY and CAL WET first, and they must differ\n");
        }
    } else if (std::strcmp(line, "CAL SHOW") == 0) {
        uint16_t raw = 0;
        carl::sensors::readSoilRaw(&raw);
        printk("dev-cal: live=%u  pending dry=%u wet=%u  stored dry=%u wet=%u calibrated=%d\n",
               raw, g_dry, g_wet,
               carl::sensors::soilDryRaw(), carl::sensors::soilWetRaw(),
               carl::sensors::hasSoilCalibration());
    } else if (line[0] != '\0') {
        printk("dev-cal: unknown '%s' (CAL DRY | CAL WET | CAL SAVE | CAL SHOW)\n", line);
    }
}

void threadFn(void*, void*, void*) {
    console_getline_init();
    printk("dev-cal: ready — CAL DRY | CAL WET | CAL SAVE | CAL SHOW\n");
    while (true) {
        char* line = console_getline();   // blocks until a full line
        if (line != nullptr) handle(line);
    }
}

K_THREAD_STACK_DEFINE(g_stack, 1280);
struct k_thread g_thread;

}  // namespace

void start() {
    k_thread_create(&g_thread, g_stack, K_THREAD_STACK_SIZEOF(g_stack),
                    threadFn, nullptr, nullptr, nullptr,
                    K_PRIO_PREEMPT(10), 0, K_NO_WAIT);
    k_thread_name_set(&g_thread, "dev_cal");
}

}  // namespace carl::dev_cal

#else  // !CONFIG_CARL_DEV_CAL

namespace carl::dev_cal {
void start() {}
}  // namespace carl::dev_cal

#endif
```

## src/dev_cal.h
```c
// Dev-mode soil recalibration over the serial console.
//
// The buttonless cheap/budget node can't run the OLED+button calibration
// flow, so this offers a serial-command path for bench recalibration and for
// deriving the CARL_SOIL_FACTORY_*_ADC defaults. Commands (one per line):
//   CAL DRY    — capture the current averaged reading as the dry endpoint
//   CAL WET    — capture it as the wet endpoint
//   CAL SAVE   — persist the captured dry/wet to NVS (overrides factory cal)
//   CAL SHOW   — print live ADC + pending + stored calibration
//
// Entirely compiled out unless CONFIG_CARL_DEV_CAL=y — start() is then a no-op.

#pragma once

namespace carl::dev_cal {

// Spawn the console listener thread. No-op unless CONFIG_CARL_DEV_CAL.
void start();

}  // namespace carl::dev_cal
```

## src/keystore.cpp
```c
#include "keystore.h"

#include <cstring>

#include <zephyr/kernel.h>
#include <zephyr/random/random.h>
#include <zephyr/settings/settings.h>
#include <zephyr/sys/printk.h>

namespace carl::keystore {

namespace {

constexpr const char* kKeyPath     = "carl/key";
constexpr const char* kCounterPath = "carl/counter";

// Persist the counter to flash every N broadcasts. Lower wears flash faster;
// higher means more counters get re-used after an unclean reset (which is
// safe — the hub rejects non-increasing counters, so a node will simply skip
// ahead by the checkpoint window after reboot).
constexpr uint32_t kCounterCheckpointEvery = 64;

uint8_t   g_key[16];
bool      g_have_key = false;
bool      g_fresh    = false;
uint32_t  g_counter  = 0;
uint32_t  g_counter_persisted = 0;

int settingsLoadCb(const char* name, size_t len, settings_read_cb read_cb,
                   void* cb_arg) {
    const char* next = nullptr;
    int name_len = settings_name_next(name, &next);

    if (name_len == 3 && std::strncmp(name, "key", 3) == 0 && len == sizeof(g_key)) {
        if (read_cb(cb_arg, g_key, sizeof(g_key)) == sizeof(g_key)) {
            g_have_key = true;
        }
        return 0;
    }
    if (name_len == 7 && std::strncmp(name, "counter", 7) == 0
        && len == sizeof(g_counter)) {
        read_cb(cb_arg, &g_counter_persisted, sizeof(g_counter_persisted));
        // Skip ahead a checkpoint window so we never reuse a counter after an
        // unclean reset.
        g_counter = g_counter_persisted + kCounterCheckpointEvery;
        return 0;
    }
    return 0;
}

SETTINGS_STATIC_HANDLER_DEFINE(carl_keystore, "carl",
                               /*get=*/nullptr,
                               /*set=*/settingsLoadCb,
                               /*commit=*/nullptr,
                               /*export=*/nullptr);

void persistCounter(uint32_t v) {
    settings_save_one(kCounterPath, &v, sizeof(v));
    g_counter_persisted = v;
}

}  // namespace

bool init() {
    if (!g_have_key) {
        // First boot: generate fresh key.
        sys_rand_get(g_key, sizeof(g_key));
        if (settings_save_one(kKeyPath, g_key, sizeof(g_key)) != 0) return false;
        g_have_key = true;
        g_fresh    = true;
        persistCounter(0);
    }
    return true;
}

const uint8_t* key() { return g_key; }
bool isFreshKey() { return g_fresh; }

void keyHex(char out[33]) {
    static const char* h = "0123456789ABCDEF";
    for (int i = 0; i < 16; ++i) {
        out[i * 2 + 0] = h[(g_key[i] >> 4) & 0x0F];
        out[i * 2 + 1] = h[g_key[i] & 0x0F];
    }
    out[32] = '\0';
}

uint32_t nextCounter() {
    const uint32_t c = g_counter++;
    if (c - g_counter_persisted >= kCounterCheckpointEvery) {
        persistCounter(g_counter);
    }
    return c;
}

}  // namespace carl::keystore
```

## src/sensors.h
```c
// Sensor sampling for the Carl node — BME280 (T/H/P), VEML7700 (lux),
// soil-moisture probe (ADC). All three are wired in the devicetree overlay.
// Soil readings are converted to a 0..100% via the persisted dry/wet
// calibration; raw ADC is also exposed for the calibration UI.

#pragma once

#include <cstdint>

namespace carl::sensors {

struct Sample {
    // Each environmental field has its own _ok flag because different sensor
    // combinations populate different subsets — e.g. a BME280 fills all three,
    // a Grove Temperature Sensor v1.2 only fills temperature.
    bool     temp_ok;
    float    temperature_c;   // °C
    bool     humidity_ok;
    float    humidity_pct;    // %
    bool     pressure_ok;
    float    pressure_hpa;    // hPa

    bool     veml_ok;
    float    illuminance_lux; // lux

    bool     soil_ok;
    uint16_t soil_raw_adc;    // raw 12-bit ADC count
    float    soil_pct;        // 0..100% (clamped); requires calibration

    uint8_t  battery_pct;     // 0..100%
};

bool init();

// Sample everything; populates *out. Returns true if at least one channel
// succeeded. Individual *_ok flags indicate per-channel success.
bool sample(Sample* out);

// Read the soil probe's raw ADC value once. Used by the calibration flow.
bool readSoilRaw(uint16_t* raw);

// Average `samples` soil reads (~20 ms apart) into *out. Shared by the
// button (display) and serial (dev) calibration flows. Returns false if no
// read succeeded.
bool readSoilAveraged(uint16_t* out, int samples = 16);

// Apply or update the dry/wet calibration. Persists to NVS via settings.
void setSoilCalibration(uint16_t dry_raw, uint16_t wet_raw);

// Whether calibration has ever been performed.
bool hasSoilCalibration();

// Raw dry / wet calibration ADC values, for the debug-mode display.
uint16_t soilDryRaw();
uint16_t soilWetRaw();

// Last successful battery voltage in millivolts (0 = not yet read /
// last read failed). Updated each call to `sample()`.
uint16_t batteryMv();

}  // namespace carl::sensors
```

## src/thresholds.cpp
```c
#include "thresholds.h"

#include <cstring>

#include <zephyr/settings/settings.h>

namespace carl::thresholds {

namespace {

Config g_cfg = { /*warn_pct=*/30, /*crit_pct=*/15 };

// Own subtree (see keystore.cpp comment) so Zephyr's settings routing
// doesn't collide with the keystore + cal handlers.
constexpr const char* kPath = "carl_th/cfg";

int settingsCb(const char* name, size_t len, settings_read_cb read_cb, void* cb_arg) {
    if (std::strcmp(name, "cfg") == 0 && len == sizeof(g_cfg)) {
        read_cb(cb_arg, &g_cfg, sizeof(g_cfg));
    }
    return 0;
}

SETTINGS_STATIC_HANDLER_DEFINE(carl_thresholds, "carl_th",
                               nullptr, settingsCb, nullptr, nullptr);

}  // namespace

bool init() { return true; }

Severity evaluate(float pct) {
    if (pct < static_cast<float>(g_cfg.crit_pct)) return Severity::kCritical;
    if (pct < static_cast<float>(g_cfg.warn_pct)) return Severity::kWarning;
    return Severity::kOk;
}

const Config& config() { return g_cfg; }

void setConfig(Config c) {
    g_cfg = c;
    settings_save_one(kPath, &g_cfg, sizeof(g_cfg));
}

}  // namespace carl::thresholds
```

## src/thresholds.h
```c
// Soil-moisture thresholds + "thirsty" severity classification.
//
// Severity is computed locally from the current sample on every cycle. The
// resulting level rides along in the BTHome advertisement (Carl-namespace
// payload — to be added when we extend the wire format) and also drives the
// local buzzer + OLED feedback on the display profile.

#pragma once

#include <cstdint>

namespace carl::thresholds {

enum class Severity : uint8_t {
    kOk       = 0,
    kWarning  = 1,
    kCritical = 2,
};

// Persisted thresholds (default: warn at <30%, critical at <15%).
struct Config {
    uint8_t warn_pct;
    uint8_t crit_pct;
};

bool init();

Severity evaluate(float soil_pct);

const Config& config();
void setConfig(Config c);

}  // namespace carl::thresholds
```
